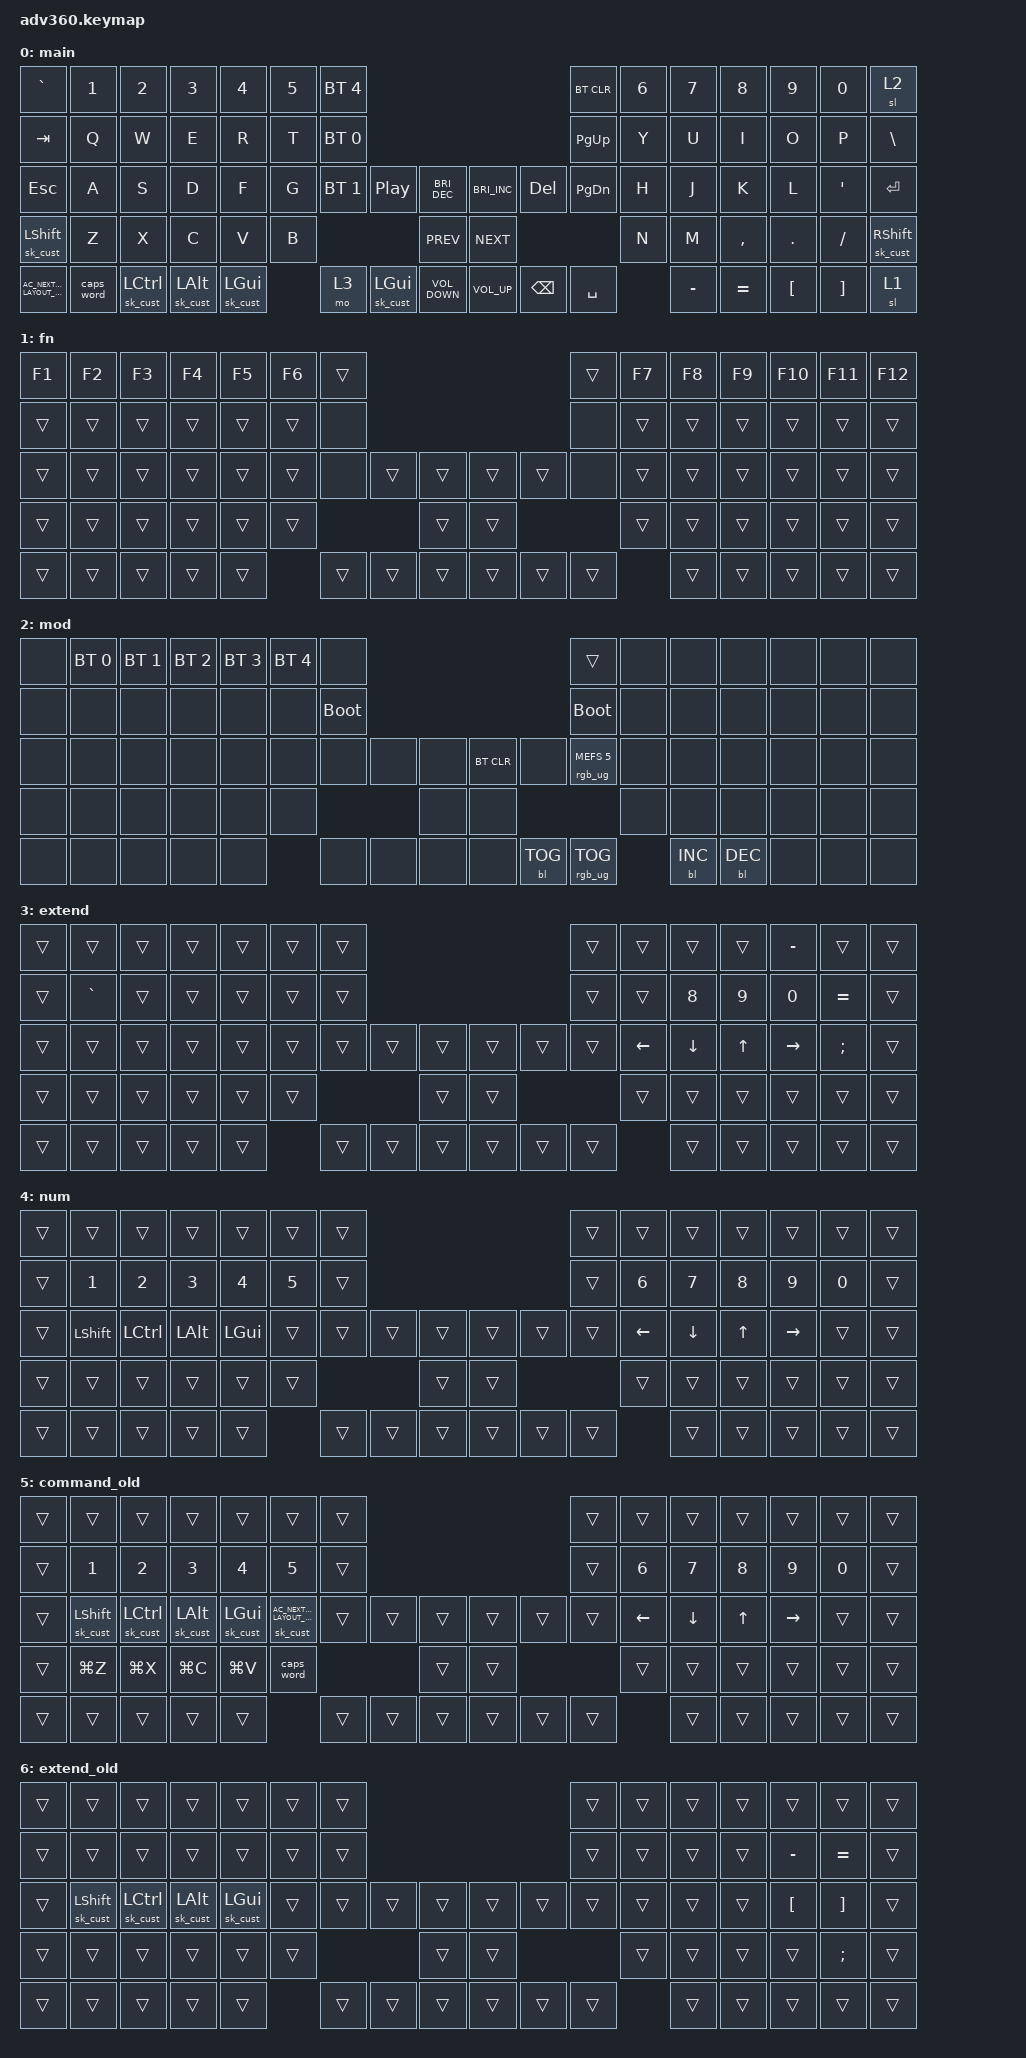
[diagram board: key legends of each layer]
#include <behaviors.dtsi>
#include <dt-bindings/zmk/backlight.h>
#include <dt-bindings/zmk/bt.h>
#include <dt-bindings/zmk/keys.h>
#include <dt-bindings/zmk/rgb.h>

/ {
    behaviors {
        #include "macros.dtsi"
        #include "version.dtsi"

        hm: homerow_mods {
            compatible = "zmk,behavior-hold-tap";
            label = "HOMEROW_MODS";
            #binding-cells = <2>;
            tapping-term-ms = <200>;
            quick_tap_ms = <175>;
            flavor = "tap-preferred";
            bindings = <&kp>, <&kp>;
        };

        ht_num: ht_num {
            compatible = "zmk,behavior-hold-tap";
            label = "HT_NUM";
            bindings = <&kp>, <&kp>;

            #binding-cells = <2>;
            tapping-term-ms = <200>;
            flavor = "tap-preferred";
            quick-tap-ms = <150>;
            require-prior-idle-ms = <0>;
        };

        lt_cust: lt_cust {
            compatible = "zmk,behavior-hold-tap";
            label = "LT_CUST";
            bindings = <&mo>, <&kp>;

            #binding-cells = <2>;
            tapping-term-ms = <150>;
        };

        ht_cust: ht_cust {
            compatible = "zmk,behavior-hold-tap";
            label = "HT_CUST";
            bindings = <&kp>, <&kp>;

            #binding-cells = <2>;
            tapping-term-ms = <150>;
        };

        sk_cust: sk_cust {
            compatible = "zmk,behavior-sticky-key";
            label = "SK_CUST";
            bindings = <&kp>;
            #binding-cells = <1>;
            release-after-ms = <1000>;
            quick-release;
            ignore-modifiers;
        };

        code_layer: code_layer {
            compatible = "zmk,behavior-hold-tap";
            label = "CODE_LAYER";
            bindings = <&mo>, <&sl>;

            #binding-cells = <2>;
            tapping-term-ms = <150>;
        };

        colon_question: colon_question {
            compatible = "zmk,behavior-mod-morph";
            label = "COLON_QUESTION";
            bindings = <&kp COLON>, <&kp QUESTION>;

            #binding-cells = <0>;
            mods = <(MOD_LSFT|MOD_RSFT)>;
        };

        backspace_del: backspace_del {
            compatible = "zmk,behavior-mod-morph";
            label = "BACKSPACE_DEL";
            bindings = <&kp BACKSPACE>, <&kp DELETE>;

            #binding-cells = <0>;
            mods = <(MOD_LCTL|MOD_RCTL)>;
        };

        colon_semi: colon_semi {
            compatible = "zmk,behavior-mod-morph";
            label = "COLON_SEMI";
            bindings = <&kp COLON>, <&kp SEMICOLON>;

            #binding-cells = <0>;
            mods = <(MOD_RSFT|MOD_LSFT)>;
        };

        under_greater: under_greater {
            compatible = "zmk,behavior-mod-morph";
            label = "UNDER_GREATER";
            bindings = <&kp UNDER>, <&kp GREATER_THAN>;

            #binding-cells = <0>;
            mods = <(MOD_LSFT|MOD_RSFT)>;
        };

        td_paren: td_paren {
            compatible = "zmk,behavior-tap-dance";
            label = "TD_PAREN";
            #binding-cells = <0>;
            bindings = <&kp LEFT_PARENTHESIS>, <&kp RIGHT_PARENTHESIS>;

            tapping-term-ms = <200>;
        };

        td_bracket: td_bracket {
            compatible = "zmk,behavior-tap-dance";
            label = "TD_BRACKET";
            #binding-cells = <0>;
            bindings = <&kp LEFT_BRACKET>, <&kp RIGHT_BRACKET>;

            tapping-term-ms = <200>;
        };

        td_brace: td_brace {
            compatible = "zmk,behavior-tap-dance";
            label = "TD_BRACE";
            #binding-cells = <0>;
            bindings = <&kp LEFT_BRACE>, <&kp RIGHT_BRACE>;

            tapping-term-ms = <200>;
        };
    };

    combos {
        compatible = "zmk,combos";

        L_bootloader {
            bindings = <&bootloader>;
            key-positions = <36 52>;
        };

        R_bootloader {
            bindings = <&bootloader>;
            key-positions = <53 37>;
        };
    };

    keymap {
        compatible = "zmk,keymap";

        main {
            bindings = <
&kp GRAVE                             &kp N1      &kp N2          &kp N3         &kp N4             &kp N5  &bt BT_SEL 4                                                                                   &bt BT_CLR     &kp N6  &kp N7     &kp N8     &kp N9            &kp N0             &sl 2
&kp TAB                               &kp Q       &kp W           &kp E          &kp R              &kp T   &bt BT_SEL 0                                                                                   &kp PG_UP      &kp Y   &kp U      &kp I      &kp O             &kp P              &kp BACKSLASH
&kp ESCAPE                            &kp A       &kp S           &kp D          &kp F              &kp G   &bt BT_SEL 1  &kp C_PLAY_PAUSE  &kp C_BRIGHTNESS_DEC      &kp C_BRIGHTNESS_INC  &kp DELETE     &kp PAGE_DOWN  &kp H   &kp J      &kp K      &kp L             &kp SQT            &kp RETURN
&sk_cust LEFT_SHIFT                   &kp Z       &kp X           &kp C          &kp V              &kp B                                   &kp C_PREV                &kp C_NEXT                                          &kp N   &kp M      &kp COMMA  &kp DOT           &kp SLASH          &sk_cust RIGHT_SHIFT
&kp C_AC_NEXT_KEYBOARD_LAYOUT_SELECT  &caps_word  &sk_cust LCTRL  &sk_cust LALT  &sk_cust LEFT_GUI          &mo 3         &sk_cust LGUI     &kp C_VOLUME_DOWN         &kp C_VOLUME_UP       &kp BACKSPACE  &kp SPACE              &kp MINUS  &kp EQUAL  &kp LEFT_BRACKET  &kp RIGHT_BRACKET  &sl 1
            >;
        };

        fn {
            bindings = <
&kp F1  &kp F2  &kp F3  &kp F4  &kp F5  &kp F6  &trans                                      &trans  &kp F7  &kp F8  &kp F9  &kp F10  &kp F11  &kp F12
&trans  &trans  &trans  &trans  &trans  &trans  &none                                       &none   &trans  &trans  &trans  &trans   &trans   &trans
&trans  &trans  &trans  &trans  &trans  &trans  &none   &trans  &trans      &trans  &trans  &none   &trans  &trans  &trans  &trans   &trans   &trans
&trans  &trans  &trans  &trans  &trans  &trans                  &trans      &trans                  &trans  &trans  &trans  &trans   &trans   &trans
&trans  &trans  &trans  &trans  &trans          &trans  &trans  &trans      &trans  &trans  &trans          &trans  &trans  &trans   &trans   &trans
            >;
        };

        mod {
            bindings = <
&none  &bt BT_SEL 0  &bt BT_SEL 1  &bt BT_SEL 2  &bt BT_SEL 3  &bt BT_SEL 4  &none                                                  &trans                  &none  &none       &none       &none  &none  &none
&none  &none         &none         &none         &none         &none         &bootloader                                            &bootloader             &none  &none       &none       &none  &none  &none
&none  &none         &none         &none         &none         &none         &none        &none  &none      &bt BT_CLR  &none       &rgb_ug RGB_MEFS_CMD 5  &none  &none       &none       &none  &none  &none
&none  &none         &none         &none         &none         &none                             &none      &none                                           &none  &none       &none       &none  &none  &none
&none  &none         &none         &none         &none                       &none        &none  &none      &none       &bl BL_TOG  &rgb_ug RGB_TOG                &bl BL_INC  &bl BL_DEC  &none  &none  &none
            >;
        };

        extend {
            bindings = <
&trans  &trans     &trans  &trans  &trans  &trans  &trans                                      &trans  &trans    &trans    &trans  &kp MINUS  &trans         &trans
&trans  &kp GRAVE  &trans  &trans  &trans  &trans  &trans                                      &trans  &trans    &kp N8    &kp N9  &kp N0     &kp EQUAL      &trans
&trans  &trans     &trans  &trans  &trans  &trans  &trans  &trans  &trans      &trans  &trans  &trans  &kp LEFT  &kp DOWN  &kp UP  &kp RIGHT  &kp SEMICOLON  &trans
&trans  &trans     &trans  &trans  &trans  &trans                  &trans      &trans                  &trans    &trans    &trans  &trans     &trans         &trans
&trans  &trans     &trans  &trans  &trans          &trans  &trans  &trans      &trans  &trans  &trans            &trans    &trans  &trans     &trans         &trans
            >;
        };

        num {
            bindings = <
&trans  &trans      &trans     &trans    &trans    &trans  &trans                                      &trans  &trans          &trans    &trans        &trans     &trans  &trans
&trans  &kp N1      &kp N2     &kp N3    &kp N4    &kp N5  &trans                                      &trans  &kp N6          &kp N7    &kp N8        &kp N9     &kp N0  &trans
&trans  &kp LSHIFT  &kp LCTRL  &kp LALT  &kp LGUI  &trans  &trans  &trans  &trans      &trans  &trans  &trans  &kp LEFT_ARROW  &kp DOWN  &kp UP_ARROW  &kp RIGHT  &trans  &trans
&trans  &trans      &trans     &trans    &trans    &trans                  &trans      &trans                  &trans          &trans    &trans        &trans     &trans  &trans
&trans  &trans      &trans     &trans    &trans            &trans  &trans  &trans      &trans  &trans  &trans                  &trans    &trans        &trans     &trans  &trans
            >;
        };

        command_old {
            bindings = <
&trans  &trans           &trans          &trans         &trans         &trans                                     &trans                                      &trans  &trans    &trans    &trans  &trans     &trans  &trans
&trans  &kp N1           &kp N2          &kp N3         &kp N4         &kp N5                                     &trans                                      &trans  &kp N6    &kp N7    &kp N8  &kp N9     &kp N0  &trans
&trans  &sk_cust LSHIFT  &sk_cust LCTRL  &sk_cust LALT  &sk_cust LGUI  &sk_cust C_AC_NEXT_KEYBOARD_LAYOUT_SELECT  &trans  &trans  &trans      &trans  &trans  &trans  &kp LEFT  &kp DOWN  &kp UP  &kp RIGHT  &trans  &trans
&trans  &kp LG(Z)        &kp LG(X)       &kp LG(C)      &kp LG(V)      &caps_word                                                 &trans      &trans                  &trans    &trans    &trans  &trans     &trans  &trans
&trans  &trans           &trans          &trans         &trans                                                    &trans  &trans  &trans      &trans  &trans  &trans            &trans    &trans  &trans     &trans  &trans
            >;
        };

        extend_old {
            bindings = <
&trans  &trans               &trans                 &trans         &trans         &trans  &trans                                      &trans  &trans  &trans  &trans  &trans            &trans             &trans
&trans  &trans               &trans                 &trans         &trans         &trans  &trans                                      &trans  &trans  &trans  &trans  &kp MINUS         &kp EQUAL          &trans
&trans  &sk_cust LEFT_SHIFT  &sk_cust LEFT_CONTROL  &sk_cust LALT  &sk_cust LGUI  &trans  &trans  &trans  &trans      &trans  &trans  &trans  &trans  &trans  &trans  &kp LEFT_BRACKET  &kp RIGHT_BRACKET  &trans
&trans  &trans               &trans                 &trans         &trans         &trans                  &trans      &trans                  &trans  &trans  &trans  &trans            &kp SEMI           &trans
&trans  &trans               &trans                 &trans         &trans                 &trans  &trans  &trans      &trans  &trans  &trans          &trans  &trans  &trans            &trans             &trans
            >;
        };
    };

    conditional_layers { compatible = "zmk,conditional-layers"; };
};
